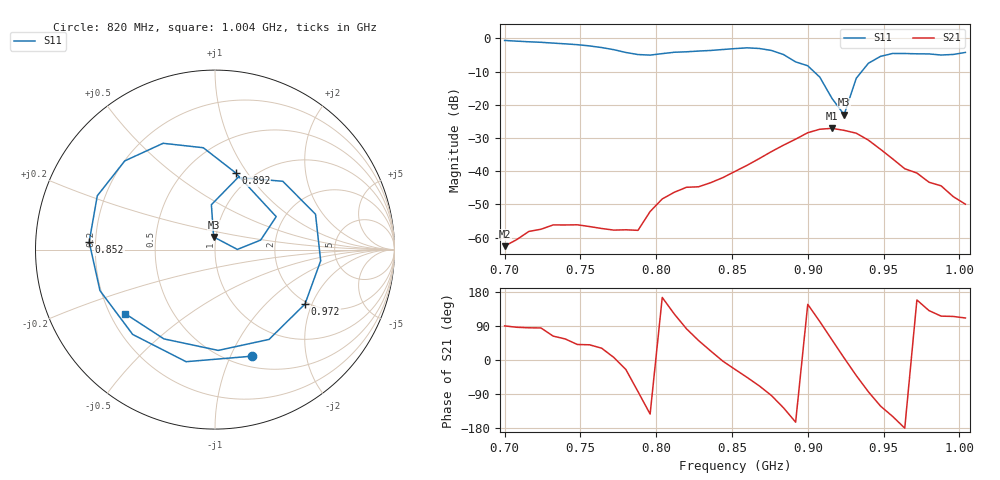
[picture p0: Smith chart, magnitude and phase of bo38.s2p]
# Hz S RI R 50
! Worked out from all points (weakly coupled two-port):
!   39 points, 700 MHz to 1.004 GHz, reference 50 ohm
!   highest |S21| = -27.09 dB at 916 MHz (marker M1); lowest = -62.6 dB at 700 MHz (marker M2)
!   lowest |S11| = -23.0 dB at 924 MHz (marker M3), VSWR 1.15, Z = 48.8 + j6.92 ohm
!   |S11| at or under -10 dB: 904.1 MHz to 935.6 MHz (31.48 MHz wide, 3.42 % of centre)
!   S12 and S22 are empty: the file has one direction only
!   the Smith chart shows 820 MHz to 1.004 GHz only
!   S11 on the Smith chart (normalised r, x): 820 MHz: 0.62, -1.21; 852 MHz: 0.17, +0.03; 892 MHz: 0.83, +0.88; 972 MHz: 1.93, -1.78; 1.004 GHz: 0.26, -0.30
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7e8  0.7653 0.5307  -2.88e-07 0.000743  0 0  0 0
7.24e8  0.8331 -0.2625  0.000126 0.00133  0 0  0 0
7.4e8  0.4398 -0.7013  0.000877 0.00128  0 0  0 0
7.56e8  -0.2031 -0.7437  0.00112 0.000946  0 0  0 0
7.72e8  -0.6544 -0.1724  0.00129 0.000156  0 0  0 0
7.8e8  -0.5608 0.2493  0.00119 -0.000556  0 0  0 0
7.88e8  -0.1909 0.5386  0.000147 -0.00128  0 0  0 0
8.04e8  0.5814 0.1006  -0.00369 0.000986  0 0  0 0
8.2e8  0.2067 -0.5937  0.000765 0.00568  0 0  0 0
8.36e8  -0.4586 -0.4728  0.00615 0.0027  0 0  0 0
8.52e8  -0.7011 0.0427  0.00902 -0.00415  0 0  0 0
8.76e8  -0.2891 0.5923  -0.00124 -0.0197  0 0  0 0
8.92e8  0.1146 0.4279  -0.0292 -0.00838  0 0  0 0
9.08e8  0.2546 0.0532  -0.00826 0.0421  0 0  0 0
9.16e8  0.1248 0.000991  0.0266 0.0353  0 0  0 0
9.24e8  -0.00749 0.0705  0.041 0.00385  0 0  0 0
9.32e8  -0.0201 0.2501  0.0282 -0.0245  0 0  0 0
9.4e8  0.1286 0.4022  0.00313 -0.0292  0 0  0 0
9.56e8  0.56 0.1969  -0.0131 -0.00792  0 0  0 0
9.72e8  0.5014 -0.3033  -0.00873 0.00346  0 0  0 0
9.88e8  0.0179 -0.5616  -0.00261 0.00542  0 0  0 0
1.004e9  -0.5013 -0.3565  -0.00113 0.00298  0 0  0 0
